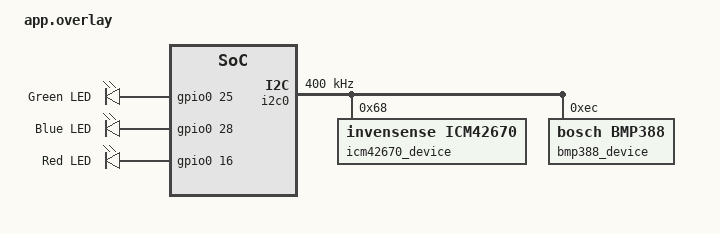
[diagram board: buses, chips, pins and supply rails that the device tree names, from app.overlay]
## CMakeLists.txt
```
cmake_minimum_required(VERSION 3.20.0)
set(BOARD nrf52dk/nrf52810)
set(CONF_FILE "prj.conf")
set(DTC_OVERLAY_FILE "app.overlay")
find_package(Zephyr)
project(my_zephyr_app)
target_sources(app PRIVATE src/main.c)
target_sources_ifdef(CONFIG_ICM42670 app PRIVATE icm42670/icm42670.c)
```

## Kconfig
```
# SPDX-License-Identifier: Apache-2.0

mainmenu "example app"

# Your application configuration options go here

# Sources Kconfig.zephyr in the Zephyr root directory.
#
# Note: All 'source' statements work relative to the Zephyr root directory (due
# to the $srctree environment variable being set to $ZEPHYR_BASE). If you want
# to 'source' relative to the current Kconfig file instead, use 'rsource' (or a
# path relative to the Zephyr root).
source "Kconfig.zephyr"

config ICM42670
	bool "Enable icm42670"
	default n
```

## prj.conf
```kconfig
CONFIG_I2C=y
CONFIG_GPIO=y
# Enable MPU6050 support (if there is a specific driver/library)
CONFIG_ICM42670=y
```

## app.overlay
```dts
 
    /*  
    icm42670
    AP_AD0 -> GND so address is
    1101000 (7 bit)  (1101000 <<1) : 0x68

    bmp388
    SDO-> GND so address is
    1110110 7 bit (1110110 <<1) :  0xEC
    */
    &i2c0 {
        icm42670_device: icm42670@68 {
                compatible = "invensense,icm42670";
                /* reg is the I2C device address.
                 * It must match the node's unit address. */
                reg = <0x68>;
                status = "okay";

                /* Configure other I2C device properties as needed.
                 * Find your device's DT binding for details. */
                accel-hz = <400>; 
                gyro-hz = <400>;
                accel-fs = <8>;
                gyro-fs = <1000>;
        };

        bmp388_device: bmp388@ec {
            compatible = "bosch,bmp388";
            /* reg is the I2C device address.
             * It must match the node's unit address. */
            reg = <0xEC>;

            /* Configure other I2C device properties as needed.
             * Find your device's DT binding for details. */
            status = "okay";

        };

    clock-frequency = <I2C_BITRATE_FAST>;
    };

    &uart0 {
        status = "disabled";
    };

    &spi0 {
        status = "disabled";
    };

    &pinctrl {
        i2c0_default: i2c0_default {

        group2 {
            psels = <NRF_PSEL(TWIM_SCL, 0, 5)>, <NRF_PSEL(TWIM_SDA, 0, 4)>;
            bias-pull-up;
        };
    	};

    	i2c0_sleep: i2c0_sleep {
    		group1 {
    			psels = <NRF_PSEL(TWIM_SDA, 0, 4)>,
    				    <NRF_PSEL(TWIM_SCL, 0, 5)>;
    			low-power-enable;
    		};
    	};
    };



/{
    aliases {
        /delete-property/ sw0;
        /delete-property/ sw1;
        /delete-property/ sw2;
        /delete-property/ sw3;
        /delete-property/ mcuboot-button0;
    };

    /delete-node/ buttons;

};

&adc {
    status = "disabled";
};

/*
GPIO_ACTIVE_HIGH : Led turns on when high.(3 Volt)
GPIO_ACTIVE_LOW: Led turns on when low (0 Volt)

*/
&led0{
    gpios = <&gpio0 25 GPIO_ACTIVE_HIGH>;
	label = "Green LED";
};

&led1{
    gpios = <&gpio0 28 GPIO_ACTIVE_HIGH>;
	label = "Blue LED";
};

&led2{
    gpios = <&gpio0 16 GPIO_ACTIVE_HIGH>;
	label = "Red LED";
};/delete-node/ &{/pin-controller/i2c0_default/group1/};
```

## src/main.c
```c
#include <zephyr/device.h>
#include <zephyr/devicetree.h>
#include <zephyr/drivers/gpio.h>
#include <stdio.h>
#include <stdlib.h>


#ifdef CONFIG_ICM42670
#include "../icm42670/icm42670.h"
#endif





const struct i2c_dt_spec icm42670_dev = I2C_DT_SPEC_GET(ICM42670_NODE);


#define REDLED_NODE DT_ALIAS(led2)
static const struct gpio_dt_spec red_led = GPIO_DT_SPEC_GET(REDLED_NODE, gpios);

#define GREENLED_NODE DT_ALIAS(led0)
static const struct gpio_dt_spec green_led = GPIO_DT_SPEC_GET(GREENLED_NODE, gpios);




int main()
{       
    int ret;
	if (!gpio_is_ready_dt(&red_led)) {
		return 0;
	}

	ret = gpio_pin_configure_dt(&red_led, GPIO_OUTPUT_INACTIVE);
	if (ret < 0) {
		return 0;
	}

	gpio_pin_set_dt(&red_led,0);

	//

		if (!gpio_is_ready_dt(&green_led)) {
		return 0;
	}

	ret = gpio_pin_configure_dt(&green_led, GPIO_OUTPUT_INACTIVE);
	if (ret < 0) {
		return 0;
	}

	gpio_pin_set_dt(&green_led,0);

    if (!device_is_ready(icm42670_dev.bus)) {
        printk("ICM42670 device is not ready\n");
		gpio_pin_set_dt(&red_led,1);
        return -1;
    }


	if(icm42670_init(&icm42670_dev) != ICM42670_OK)
	{
		gpio_pin_set_dt(&red_led,1);
		k_msleep(1000);
		gpio_pin_set_dt(&red_led,0);
		k_msleep(1000);
		gpio_pin_set_dt(&red_led,1);
		k_msleep(1000);
		gpio_pin_set_dt(&red_led,0);
		return -1;
	}
	else
	{
		gpio_pin_set_dt(&green_led,1);
		k_msleep(1000);
		gpio_pin_set_dt(&green_led,0);
		k_msleep(1000);
		gpio_pin_set_dt(&green_led,1);
		k_msleep(1000);
		gpio_pin_set_dt(&green_led,0);
	}

	ICM42670_accelData accel_data;
	while(true)
	{
		icm42670_get_acceldata(&icm42670_dev,&accel_data);
		k_msleep(50);
	}



    return 0;
}
```
